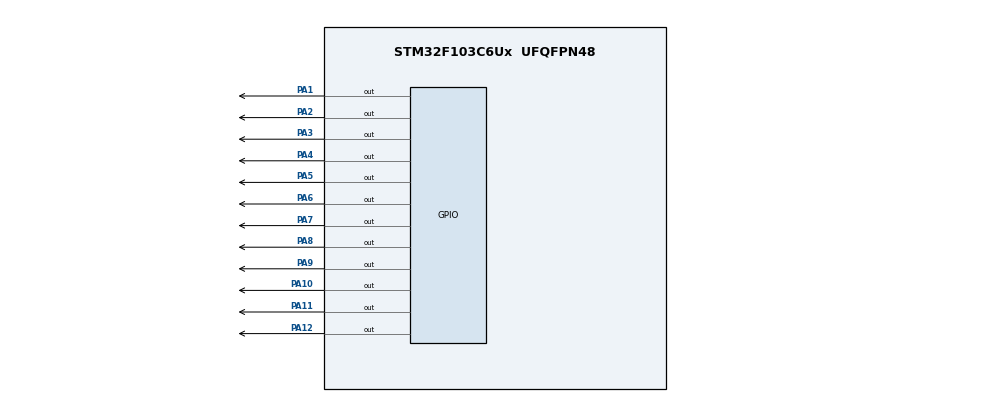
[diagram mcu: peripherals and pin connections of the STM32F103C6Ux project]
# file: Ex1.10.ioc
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Mcu.Family=STM32F1
Mcu.Name=STM32F103C6Ux
Mcu.Package=UFQFPN48
NVIC.PriorityGroup=NVIC_PRIORITYGROUP_4
PA1.Signal=GPIO_Output
PA10.Signal=GPIO_Output
PA11.Signal=GPIO_Output
PA12.Signal=GPIO_Output
PA2.Signal=GPIO_Output
PA3.Signal=GPIO_Output
PA4.Signal=GPIO_Output
PA5.Signal=GPIO_Output
PA6.Signal=GPIO_Output
PA7.Signal=GPIO_Output
PA8.Signal=GPIO_Output
PA9.Signal=GPIO_Output
ProjectManager.HeapSize=0x200
ProjectManager.StackSize=0x400
ProjectManager.TargetToolchain=STM32CubeIDE
RCC.APB1Freq_Value=8000000
RCC.APB2Freq_Value=8000000
VP_SYS_VS_ND.Mode=No_Debug
board=custom

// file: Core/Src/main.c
/* USER CODE BEGIN Header */
/**
  ******************************************************************************
  * @file           : main.c
  * @brief          : Main program body
  ******************************************************************************
  * @attention
  *
  * <h2><center>&copy; Copyright (c) 2022 STMicroelectronics.
  * All rights reserved.</center></h2>
  *
  * This software component is licensed by ST under BSD 3-Clause license,
  * the "License"; You may not use this file except in compliance with the
  * License. You may obtain a copy of the License at:
  *                        opensource.org/licenses/BSD-3-Clause
  *
  ******************************************************************************
  */
/* USER CODE END Header */
#include "main.h"

void SystemClock_Config(void);
static void MX_GPIO_Init(void);

int main(void)
{

  /* MCU Configuration--------------------------------------------------------*/

  /* Reset of all peripherals, Initializes the Flash interface and the Systick. */
  HAL_Init();

  /* Configure the system clock */
  SystemClock_Config();

  /* Initialize all configured peripherals */
  MX_GPIO_Init();

  /* Infinite loop */
  /* USER CODE BEGIN WHILE */
	int LEDpin[12] = { GPIO_PIN_1, GPIO_PIN_2, GPIO_PIN_3, GPIO_PIN_4,
			GPIO_PIN_5, GPIO_PIN_6,
			GPIO_PIN_7, GPIO_PIN_8, GPIO_PIN_9, GPIO_PIN_10, GPIO_PIN_11,
			GPIO_PIN_12 };
	void clearAllClock() {
		HAL_GPIO_WritePin( GPIOA,
				GPIO_PIN_1 | GPIO_PIN_2 | GPIO_PIN_3 | GPIO_PIN_4 | GPIO_PIN_5
						| GPIO_PIN_6 | GPIO_PIN_7 | GPIO_PIN_8 | GPIO_PIN_9
						| GPIO_PIN_10 | GPIO_PIN_11 | GPIO_PIN_12,
				GPIO_PIN_SET);
	}
	void setNumberOnClock(int num) {
		HAL_GPIO_WritePin(GPIOA, LEDpin[num], GPIO_PIN_RESET);
	}
	int countHour = 0;
	int countMin = 0;
	int countSec = 0;
	int count = 0;
	while (1) {
		/* USER CODE END WHILE */
		if(countSec >= 12) {
			countSec = 0;
			countMin++;
		}
		if(countMin >= 12) {
			countMin = 0;
			countHour++;
		}
		if(countHour >= 12) {
			countHour = 0;
		}
		clearAllClock();
		setNumberOnClock(countHour);
		setNumberOnClock(countMin);
		setNumberOnClock(countSec);
		count++;
		if(count >= 5) {
			count = 0;
			countSec++;
		}
		HAL_Delay(1000);
	}
}

void SystemClock_Config(void)
{
  RCC_OscInitTypeDef RCC_OscInitStruct = {0};
  RCC_ClkInitTypeDef RCC_ClkInitStruct = {0};

  /** Initializes the RCC Oscillators according to the specified parameters
  * in the RCC_OscInitTypeDef structure.
  */
  RCC_OscInitStruct.OscillatorType = RCC_OSCILLATORTYPE_HSI;
  RCC_OscInitStruct.HSIState = RCC_HSI_ON;
  RCC_OscInitStruct.HSICalibrationValue = RCC_HSICALIBRATION_DEFAULT;
  RCC_OscInitStruct.PLL.PLLState = RCC_PLL_NONE;
  if (HAL_RCC_OscConfig(&RCC_OscInitStruct) != HAL_OK)
  {
    Error_Handler();
  }
  /** Initializes the CPU, AHB and APB buses clocks
  */
  RCC_ClkInitStruct.ClockType = RCC_CLOCKTYPE_HCLK|RCC_CLOCKTYPE_SYSCLK
                              |RCC_CLOCKTYPE_PCLK1|RCC_CLOCKTYPE_PCLK2;
  RCC_ClkInitStruct.SYSCLKSource = RCC_SYSCLKSOURCE_HSI;
  RCC_ClkInitStruct.AHBCLKDivider = RCC_SYSCLK_DIV1;
  RCC_ClkInitStruct.APB1CLKDivider = RCC_HCLK_DIV1;
  RCC_ClkInitStruct.APB2CLKDivider = RCC_HCLK_DIV1;

  if (HAL_RCC_ClockConfig(&RCC_ClkInitStruct, FLASH_LATENCY_0) != HAL_OK)
  {
    Error_Handler();
  }
}

static void MX_GPIO_Init(void)
{
  GPIO_InitTypeDef GPIO_InitStruct = {0};

  /* GPIO Ports Clock Enable */
  __HAL_RCC_GPIOA_CLK_ENABLE();

  /*Configure GPIO pin Output Level */
  HAL_GPIO_WritePin(GPIOA, GPIO_PIN_1|GPIO_PIN_2|GPIO_PIN_3|GPIO_PIN_4
                          |GPIO_PIN_5|GPIO_PIN_6|GPIO_PIN_7|GPIO_PIN_8
                          |GPIO_PIN_9|GPIO_PIN_10|GPIO_PIN_11|GPIO_PIN_12, GPIO_PIN_RESET);

  /*Configure GPIO pins : PA1 PA2 PA3 PA4
                           PA5 PA6 PA7 PA8
                           PA9 PA10 PA11 PA12 */
  GPIO_InitStruct.Pin = GPIO_PIN_1|GPIO_PIN_2|GPIO_PIN_3|GPIO_PIN_4
                          |GPIO_PIN_5|GPIO_PIN_6|GPIO_PIN_7|GPIO_PIN_8
                          |GPIO_PIN_9|GPIO_PIN_10|GPIO_PIN_11|GPIO_PIN_12;
  GPIO_InitStruct.Mode = GPIO_MODE_OUTPUT_PP;
  GPIO_InitStruct.Pull = GPIO_NOPULL;
  GPIO_InitStruct.Speed = GPIO_SPEED_FREQ_LOW;
  HAL_GPIO_Init(GPIOA, &GPIO_InitStruct);

}

void Error_Handler(void)
{
  __disable_irq();
  while (1)
  {
  }
}

/************************ (C) COPYRIGHT STMicroelectronics *****END OF FILE****/
